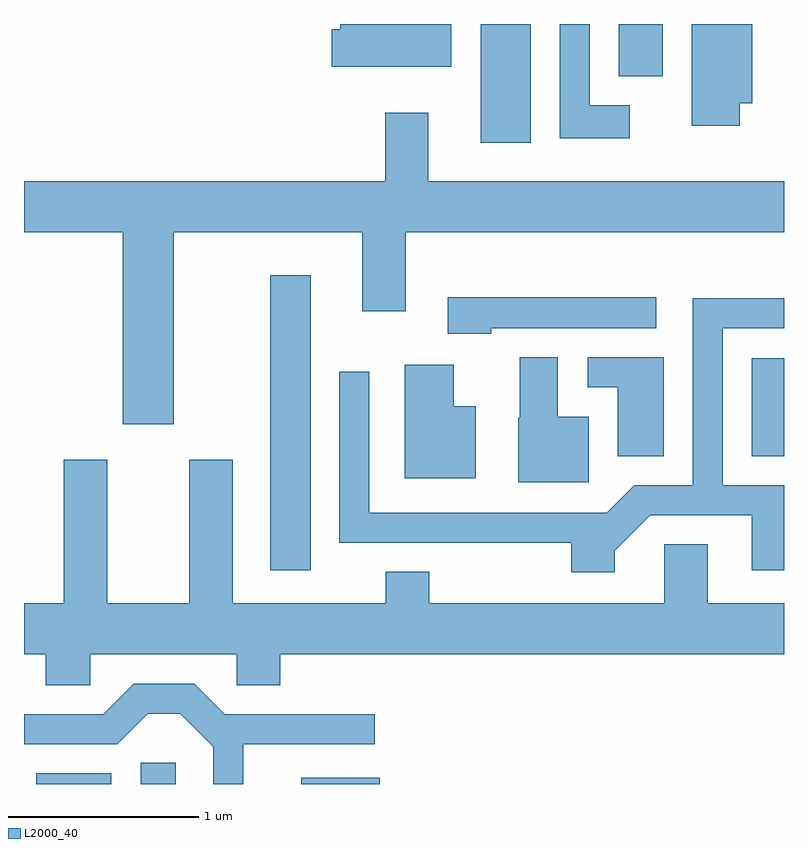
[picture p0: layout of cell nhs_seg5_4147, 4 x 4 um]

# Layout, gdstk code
import gdstk
lib = gdstk.Library(unit=1e-6, precision=1e-09)
def R(c, l, rs):  # rectangles x0, y0, x1, y1
    for r in rs: c.add(gdstk.rectangle(r[:2], r[2:], *l))
def P(c, l, *ps):  # polygons
    for p in ps: c.add(gdstk.Polygon(p, *l))
L2000_40 = (2000, 40)

nhs_seg5_4147 = lib.new_cell('nhs_seg5_4147')
R(nhs_seg5_4147, L2000_40, [(307.676,1496.072,308.069,1496.129), (308.226,1496.072,308.409,1496.184), (309.071,1496.072,309.484,1496.104), (308.906,1497.196,309.119,1498.749), (311.441,1497.796,311.611,1498.314), (310.016,1499.446,310.279,1500.072), (310.741,1499.796,310.974,1500.072)])
P(nhs_seg5_4147, L2000_40, [(310.799,1499.644),(310.589,1499.644),(310.589,1500.072),(310.431,1500.072),(310.431,1499.471),(310.799,1499.471)],
  [(311.379,1499.656),(311.444,1499.656),(311.444,1500.072),(311.126,1500.072),(311.126,1499.536),(311.379,1499.536)],
  [(309.859,1500.072),(309.276,1500.072),(309.276,1500.044),(309.231,1500.044),(309.231,1499.846),(309.859,1499.846)],
  [(308.399,1498.976),(309.391,1498.976),(309.391,1498.561),(309.619,1498.561),(309.619,1498.976),(311.611,1498.976),(311.611,1499.244),(309.739,1499.244),(309.739,1499.604),(309.511,1499.604),(309.511,1499.244),(307.611,1499.244),(307.611,1498.976),(308.131,1498.976),(308.131,1497.966),(308.399,1497.966)],
  [(310.069,1498.471),(310.938,1498.471),(310.938,1498.634),(309.841,1498.634),(309.841,1498.441),(310.069,1498.441)],
  [(310.719,1497.299),(310.907,1497.486),(311.441,1497.486),(311.441,1497.196),(311.611,1497.196),(311.611,1497.644),(311.289,1497.644),(311.289,1498.471),(311.611,1498.471),(311.611,1498.629),(311.131,1498.629),(311.131,1497.644),(310.824,1497.644),(310.679,1497.499),(309.429,1497.499),(309.429,1498.243),(309.271,1498.243),(309.271,1497.341),(310.491,1497.341),(310.491,1497.186),(310.719,1497.186)],
  [(310.584,1498.004),(310.419,1498.004),(310.419,1498.319),(310.221,1498.319),(310.221,1498),(310.211,1498),(310.211,1497.661),(310.584,1497.661)],
  [(310.979,1498.319),(310.578,1498.319),(310.578,1498.161),(310.736,1498.161),(310.736,1497.796),(310.979,1497.796)],
  [(309.989,1498.059),(309.874,1498.059),(309.874,1498.279),(309.616,1498.279),(309.616,1497.681),(309.989,1497.681)],
  [(307.959,1496.756),(308.731,1496.756),(308.731,1496.591),(308.959,1496.591),(308.959,1496.756),(311.611,1496.756),(311.611,1497.024),(311.209,1497.024),(311.209,1497.334),(310.981,1497.334),(310.981,1497.024),(309.744,1497.024),(309.744,1497.189),(309.516,1497.189),(309.516,1497.024),(308.709,1497.024),(308.709,1497.779),(308.481,1497.779),(308.481,1497.024),(308.049,1497.024),(308.049,1497.779),(307.821,1497.779),(307.821,1497.024),(307.611,1497.024),(307.611,1496.756),(307.726,1496.756),(307.726,1496.591),(307.959,1496.591)],
  [(308.764,1496.281),(309.458,1496.281),(309.458,1496.439),(308.667,1496.439),(308.507,1496.599),(308.189,1496.599),(308.029,1496.439),(307.611,1496.439),(307.611,1496.281),(308.102,1496.281),(308.262,1496.441),(308.434,1496.441),(308.606,1496.269),(308.606,1496.072),(308.764,1496.072)])

lib.write_gds('nhs_seg5_4147.gds')
